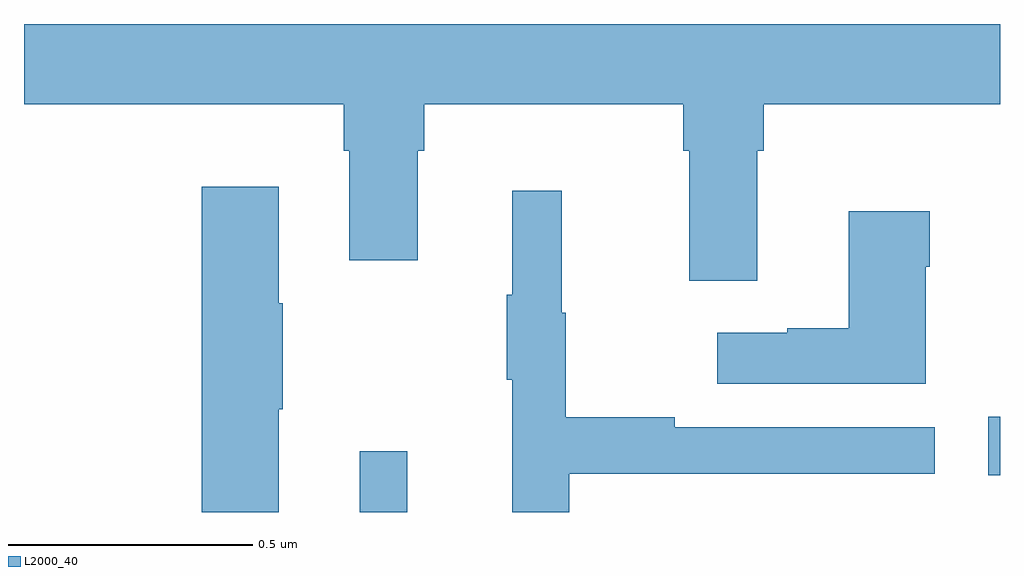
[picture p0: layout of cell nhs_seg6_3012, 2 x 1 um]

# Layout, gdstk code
import gdstk
lib = gdstk.Library(unit=1e-6, precision=1e-09)
def R(c, l, rs):  # rectangles x0, y0, x1, y1
    for r in rs: c.add(gdstk.rectangle(r[:2], r[2:], *l))
def P(c, l, *ps):  # polygons
    for p in ps: c.add(gdstk.Polygon(p, *l))
L2000_40 = (2000, 40)

nhs_seg6_3012 = lib.new_cell('nhs_seg6_3012')
R(nhs_seg6_3012, L2000_40, [(151.688,946.5,151.785,946.624), (152.976,946.575,153,946.695)])
P(nhs_seg6_3012, L2000_40, [(152.503,947.24),(152.516,947.24),(152.516,947.336),(153,947.336),(153,947.5),(151,947.5),(151,947.336),(151.655,947.336),(151.655,947.24),(151.667,947.24),(151.667,947.016),(151.807,947.016),(151.807,947.24),(151.82,947.24),(151.82,947.336),(152.351,947.336),(152.351,947.24),(152.363,947.24),(152.363,946.974),(152.503,946.974)],
  [(151.522,946.711),(151.53,946.711),(151.53,946.928),(151.522,946.928),(151.522,947.167),(151.364,947.167),(151.364,946.5),(151.522,946.5)],
  [(152.117,946.578),(152.866,946.578),(152.866,946.674),(152.333,946.674),(152.333,946.694),(152.11,946.694),(152.11,946.908),(152.102,946.908),(152.102,947.158),(152,947.158),(152,946.945),(151.989,946.945),(151.989,946.771),(152,946.771),(152,946.5),(152.117,946.5)],
  [(152.848,947.003),(152.856,947.003),(152.856,947.116),(152.69,947.116),(152.69,946.877),(152.564,946.877),(152.564,946.867),(152.421,946.867),(152.421,946.763),(152.848,946.763)])

lib.write_gds('nhs_seg6_3012.gds')
